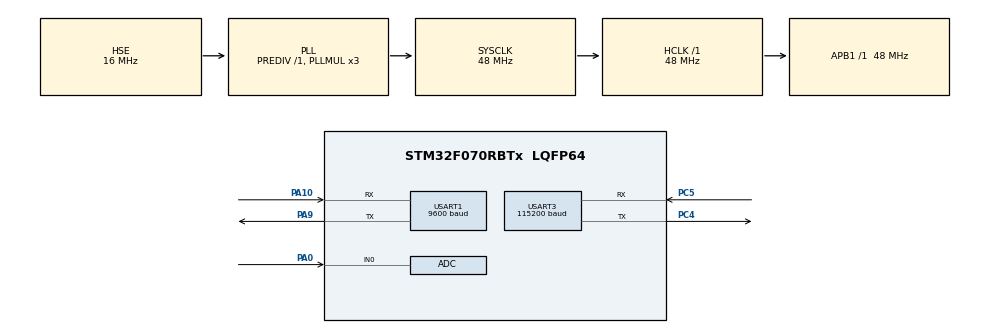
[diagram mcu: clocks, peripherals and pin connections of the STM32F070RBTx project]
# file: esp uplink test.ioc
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Mcu.Family=STM32F0
Mcu.Name=STM32F070RBTx
Mcu.Package=LQFP64
NVIC.ADC1_IRQn=true\:0\:0\:false\:false\:true
NVIC.USART1_IRQn=true\:0\:0\:false\:false\:true
NVIC.USART3_4_IRQn=true\:0\:0\:false\:false\:true
PA0.Mode=IN0
PA0.Signal=ADC_IN0
PA10.Mode=Asynchronous
PA10.Signal=USART1_RX
PA9.Mode=Asynchronous
PA9.Signal=USART1_TX
PC4.Mode=Asynchronous
PC4.Signal=USART3_TX
PC5.Mode=Asynchronous
PC5.Signal=USART3_RX
PF0-OSC_IN.Mode=HSE-External-Oscillator
PF0-OSC_IN.Signal=RCC_OSC_IN
PF1-OSC_OUT.Mode=HSE-External-Oscillator
PF1-OSC_OUT.Signal=RCC_OSC_OUT
ProjectManager.HeapSize=0x200
ProjectManager.StackSize=0x400
ProjectManager.TargetToolchain=MDK-ARM V5
RCC.AHBFreq_Value=48000000
RCC.APB1Freq_Value=48000000
RCC.APB1TimFreq_Value=48000000
RCC.HCLKFreq_Value=48000000
RCC.HSE_VALUE=16000000
RCC.PLLMUL=RCC_PLL_MUL3
RCC.PLLSourceVirtual=RCC_PLLSOURCE_HSE
RCC.SYSCLKFreq_VALUE=48000000
RCC.SYSCLKSource=RCC_SYSCLKSOURCE_PLLCLK
USART1.BaudRate=9600
USART1.VirtualMode-Asynchronous=VM_ASYNC
USART1.WordLength=WORDLENGTH_8B
USART3.BaudRate=115200
USART3.VirtualMode-Asynchronous=VM_ASYNC
USART3.WordLength=WORDLENGTH_8B
board=esp uplink test

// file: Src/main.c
/**
  ******************************************************************************
  * File Name          : main.c
  * Description        : Main program body
  ******************************************************************************
  ** This notice applies to any and all portions of this file
  * that are not between comment pairs USER CODE BEGIN and
  * USER CODE END. Other portions of this file, whether
  * inserted by the user or by software development tools
  * are owned by their respective copyright owners.
  *
  * COPYRIGHT(c) 2017 STMicroelectronics
  *
  * Redistribution and use in source and binary forms, with or without modification,
  * are permitted provided that the following conditions are met:
  *   1. Redistributions of source code must retain the above copyright notice,
  *      this list of conditions and the following disclaimer.
  *   2. Redistributions in binary form must reproduce the above copyright notice,
  *      this list of conditions and the following disclaimer in the documentation
  *      and/or other materials provided with the distribution.
  *   3. Neither the name of STMicroelectronics nor the names of its contributors
  *      may be used to endorse or promote products derived from this software
  *      without specific prior written permission.
  *
  * THIS SOFTWARE IS PROVIDED BY THE COPYRIGHT HOLDERS AND CONTRIBUTORS "AS IS"
  * AND ANY EXPRESS OR IMPLIED WARRANTIES, INCLUDING, BUT NOT LIMITED TO, THE
  * IMPLIED WARRANTIES OF MERCHANTABILITY AND FITNESS FOR A PARTICULAR PURPOSE ARE
  * DISCLAIMED. IN NO EVENT SHALL THE COPYRIGHT HOLDER OR CONTRIBUTORS BE LIABLE
  * FOR ANY DIRECT, INDIRECT, INCIDENTAL, SPECIAL, EXEMPLARY, OR CONSEQUENTIAL
  * DAMAGES (INCLUDING, BUT NOT LIMITED TO, PROCUREMENT OF SUBSTITUTE GOODS OR
  * SERVICES; LOSS OF USE, DATA, OR PROFITS; OR BUSINESS INTERRUPTION) HOWEVER
  * CAUSED AND ON ANY THEORY OF LIABILITY, WHETHER IN CONTRACT, STRICT LIABILITY,
  * OR TORT (INCLUDING NEGLIGENCE OR OTHERWISE) ARISING IN ANY WAY OUT OF THE USE
  * OF THIS SOFTWARE, EVEN IF ADVISED OF THE POSSIBILITY OF SUCH DAMAGE.
  *
  ******************************************************************************
  */
#include "main.h"
#include "stm32f0xx_hal.h"

ADC_HandleTypeDef hadc;

UART_HandleTypeDef huart1;
UART_HandleTypeDef huart3;

/* USER CODE BEGIN PV */
/* Private variables ---------------------------------------------------------*/
unsigned char ch;
char buffer[100],buff[100];
int i=0,s1,s2,len=0,val=10;
/* USER CODE END PV */

void SystemClock_Config(void);
static void MX_GPIO_Init(void);
static void MX_USART1_UART_Init(void);
static void MX_USART3_UART_Init(void);
static void MX_ADC_Init(void);

/* USER CODE BEGIN PFP */
/* Private function prototypes -----------------------------------------------*/

/* USER CODE END PFP */

/* USER CODE BEGIN 0 */
void espuplink()
{
HAL_UART_Transmit(&huart3,"AT\r\n",4,10);
HAL_Delay(1000);
HAL_UART_Transmit(&huart3,"AT+CWJAP?\r\n",11,10);
HAL_Delay(1000);
HAL_UART_Transmit(&huart3,"AT+CIFSR\r\n",10,10);
HAL_Delay(1000);
//HAL_UART_Transmit(&huart3,"AT+CIFSR\r\n",,10);

sprintf(buffer,"AT+CIPMUX=1\r\n");
i=strlen(buffer);
for(int j=0;j<=i;j++)
{
HAL_UART_Transmit(&huart3,&buffer[j],1,20);
}
HAL_Delay(1000);

sprintf(buffer,"AT+CIPSTART=4,\"TCP\",\"184.106.153.149\",80\r\n");
i=strlen(buffer);
for(int j=0;j<=i;j++)
{
HAL_UART_Transmit(&huart3,&buffer[j],1,20);
}
HAL_Delay(1000);

sprintf(buff,"GET https://api.thingspeak.com/update?api_key=HX7HBPECPLNMLDYM&field1=%d\r\n",val);
len=strlen(buff);

sprintf(buffer,"AT+CIPSEND=4,%d\r\n",len);
i=strlen(buffer);
for(int j=0;j<=i;j++)
{
HAL_UART_Transmit(&huart3,&buffer[j],1,20);
}
HAL_Delay(1000);

for(int j=0;j<=len;j++)
{
HAL_UART_Transmit(&huart3,&buff[j],1,20);
}
HAL_Delay(1000);
}

/* USER CODE END 0 */

int main(void)
{

  /* MCU Configuration----------------------------------------------------------*/

  /* Reset of all peripherals, Initializes the Flash interface and the Systick. */
  HAL_Init();

  /* Configure the system clock */
  SystemClock_Config();

  /* Initialize all configured peripherals */
  MX_GPIO_Init();
  MX_USART1_UART_Init();
  MX_USART3_UART_Init();
  MX_ADC_Init();

  /* Infinite loop */
  while (1)
  {

  /* USER CODE BEGIN 3 */
HAL_Delay(16000);
HAL_UART_Transmit(&huart3,"AT\r\n",4,10);
HAL_Delay(1000);
HAL_UART_Transmit(&huart3,"AT+CWJAP?\r\n",11,10);
HAL_Delay(1000);
HAL_UART_Transmit(&huart3,"AT+CIFSR\r\n",10,10);
HAL_Delay(1000);
//HAL_UART_Transmit(&huart3,"AT+CIFSR\r\n",,10);

sprintf(buffer,"AT+CIPMUX=1\r\n");
i=strlen(buffer);
for(int j=0;j<=i;j++)
{
HAL_UART_Transmit(&huart3,&buffer[j],1,20);
}
HAL_Delay(1000);

sprintf(buffer,"AT+CIPSTART=4,\"TCP\",\"184.106.153.149\",80\r\n");
i=strlen(buffer);
for(int j=0;j<=i;j++)
{
HAL_UART_Transmit(&huart3,&buffer[j],1,20);
}
HAL_Delay(1000);

sprintf(buff,"GET https://api.thingspeak.com/update?api_key=HX7HBPECPLNMLDYM&field1=%d\r\n",val);
len=strlen(buff);

sprintf(buffer,"AT+CIPSEND=4,%d\r\n",len);
i=strlen(buffer);
for(int j=0;j<=i;j++)
{
HAL_UART_Transmit(&huart3,&buffer[j],1,20);
}
HAL_Delay(1000);

for(int j=0;j<=len;j++)
{
HAL_UART_Transmit(&huart3,&buff[j],1,20);
}
HAL_Delay(1000);
val=val+10;

//HAL_UART_Transmit(&huart3,);
  }
  /* USER CODE END 3 */

}

/** System Clock Configuration
*/
void SystemClock_Config(void)
{

  RCC_OscInitTypeDef RCC_OscInitStruct;
  RCC_ClkInitTypeDef RCC_ClkInitStruct;
  RCC_PeriphCLKInitTypeDef PeriphClkInit;

    /**Initializes the CPU, AHB and APB busses clocks
    */
  RCC_OscInitStruct.OscillatorType = RCC_OSCILLATORTYPE_HSI14|RCC_OSCILLATORTYPE_HSE;
  RCC_OscInitStruct.HSEState = RCC_HSE_ON;
  RCC_OscInitStruct.HSIState = RCC_HSI_ON;
  RCC_OscInitStruct.HSI14State = RCC_HSI14_ON;
  RCC_OscInitStruct.HSI14CalibrationValue = 16;
  RCC_OscInitStruct.PLL.PLLState = RCC_PLL_ON;
  RCC_OscInitStruct.PLL.PLLSource = RCC_PLLSOURCE_HSE;
  RCC_OscInitStruct.PLL.PLLMUL = RCC_PLL_MUL3;
  RCC_OscInitStruct.PLL.PREDIV = RCC_PREDIV_DIV1;
  if (HAL_RCC_OscConfig(&RCC_OscInitStruct) != HAL_OK)
  {
    _Error_Handler(__FILE__, __LINE__);
  }

    /**Initializes the CPU, AHB and APB busses clocks
    */
  RCC_ClkInitStruct.ClockType = RCC_CLOCKTYPE_HCLK|RCC_CLOCKTYPE_SYSCLK
                              |RCC_CLOCKTYPE_PCLK1;
  RCC_ClkInitStruct.SYSCLKSource = RCC_SYSCLKSOURCE_PLLCLK;
  RCC_ClkInitStruct.AHBCLKDivider = RCC_SYSCLK_DIV1;
  RCC_ClkInitStruct.APB1CLKDivider = RCC_HCLK_DIV1;

  if (HAL_RCC_ClockConfig(&RCC_ClkInitStruct, FLASH_LATENCY_1) != HAL_OK)
  {
    _Error_Handler(__FILE__, __LINE__);
  }

  PeriphClkInit.PeriphClockSelection = RCC_PERIPHCLK_USART1;
  PeriphClkInit.Usart1ClockSelection = RCC_USART1CLKSOURCE_PCLK1;
  if (HAL_RCCEx_PeriphCLKConfig(&PeriphClkInit) != HAL_OK)
  {
    _Error_Handler(__FILE__, __LINE__);
  }

    /**Configure the Systick interrupt time
    */
  HAL_SYSTICK_Config(HAL_RCC_GetHCLKFreq()/1000);

    /**Configure the Systick
    */
  HAL_SYSTICK_CLKSourceConfig(SYSTICK_CLKSOURCE_HCLK);

  /* SysTick_IRQn interrupt configuration */
  HAL_NVIC_SetPriority(SysTick_IRQn, 0, 0);
}

/* ADC init function */
static void MX_ADC_Init(void)
{

  ADC_ChannelConfTypeDef sConfig;

    /**Configure the global features of the ADC (Clock, Resolution, Data Alignment and number of conversion)
    */
  hadc.Instance = ADC1;
  hadc.Init.ClockPrescaler = ADC_CLOCK_ASYNC_DIV1;
  hadc.Init.Resolution = ADC_RESOLUTION_12B;
  hadc.Init.DataAlign = ADC_DATAALIGN_RIGHT;
  hadc.Init.ScanConvMode = ADC_SCAN_DIRECTION_FORWARD;
  hadc.Init.EOCSelection = ADC_EOC_SINGLE_CONV;
  hadc.Init.LowPowerAutoWait = DISABLE;
  hadc.Init.LowPowerAutoPowerOff = DISABLE;
  hadc.Init.ContinuousConvMode = DISABLE;
  hadc.Init.DiscontinuousConvMode = DISABLE;
  hadc.Init.ExternalTrigConv = ADC_SOFTWARE_START;
  hadc.Init.ExternalTrigConvEdge = ADC_EXTERNALTRIGCONVEDGE_NONE;
  hadc.Init.DMAContinuousRequests = DISABLE;
  hadc.Init.Overrun = ADC_OVR_DATA_PRESERVED;
  if (HAL_ADC_Init(&hadc) != HAL_OK)
  {
    _Error_Handler(__FILE__, __LINE__);
  }

    /**Configure for the selected ADC regular channel to be converted.
    */
  sConfig.Channel = ADC_CHANNEL_0;
  sConfig.Rank = ADC_RANK_CHANNEL_NUMBER;
  sConfig.SamplingTime = ADC_SAMPLETIME_1CYCLE_5;
  if (HAL_ADC_ConfigChannel(&hadc, &sConfig) != HAL_OK)
  {
    _Error_Handler(__FILE__, __LINE__);
  }

}

/* USART1 init function */
static void MX_USART1_UART_Init(void)
{

  huart1.Instance = USART1;
  huart1.Init.BaudRate = 9600;
  huart1.Init.WordLength = UART_WORDLENGTH_8B;
  huart1.Init.StopBits = UART_STOPBITS_1;
  huart1.Init.Parity = UART_PARITY_NONE;
  huart1.Init.Mode = UART_MODE_TX_RX;
  huart1.Init.HwFlowCtl = UART_HWCONTROL_NONE;
  huart1.Init.OverSampling = UART_OVERSAMPLING_16;
  huart1.Init.OneBitSampling = UART_ONE_BIT_SAMPLE_DISABLE;
  huart1.AdvancedInit.AdvFeatureInit = UART_ADVFEATURE_NO_INIT;
  if (HAL_UART_Init(&huart1) != HAL_OK)
  {
    _Error_Handler(__FILE__, __LINE__);
  }

}

/* USART3 init function */
static void MX_USART3_UART_Init(void)
{

  huart3.Instance = USART3;
  huart3.Init.BaudRate = 115200;
  huart3.Init.WordLength = UART_WORDLENGTH_8B;
  huart3.Init.StopBits = UART_STOPBITS_1;
  huart3.Init.Parity = UART_PARITY_NONE;
  huart3.Init.Mode = UART_MODE_TX_RX;
  huart3.Init.HwFlowCtl = UART_HWCONTROL_NONE;
  huart3.Init.OverSampling = UART_OVERSAMPLING_16;
  huart3.Init.OneBitSampling = UART_ONE_BIT_SAMPLE_DISABLE;
  huart3.AdvancedInit.AdvFeatureInit = UART_ADVFEATURE_NO_INIT;
  if (HAL_UART_Init(&huart3) != HAL_OK)
  {
    _Error_Handler(__FILE__, __LINE__);
  }

}

/** Configure pins as
        * Analog
        * Input
        * Output
        * EVENT_OUT
        * EXTI
*/
static void MX_GPIO_Init(void)
{

  /* GPIO Ports Clock Enable */
  __HAL_RCC_GPIOF_CLK_ENABLE();
  __HAL_RCC_GPIOA_CLK_ENABLE();
  __HAL_RCC_GPIOC_CLK_ENABLE();

}

void _Error_Handler(char * file, int line)
{
  while(1)
  {
  }
}

/************************ (C) COPYRIGHT STMicroelectronics *****END OF FILE****/
